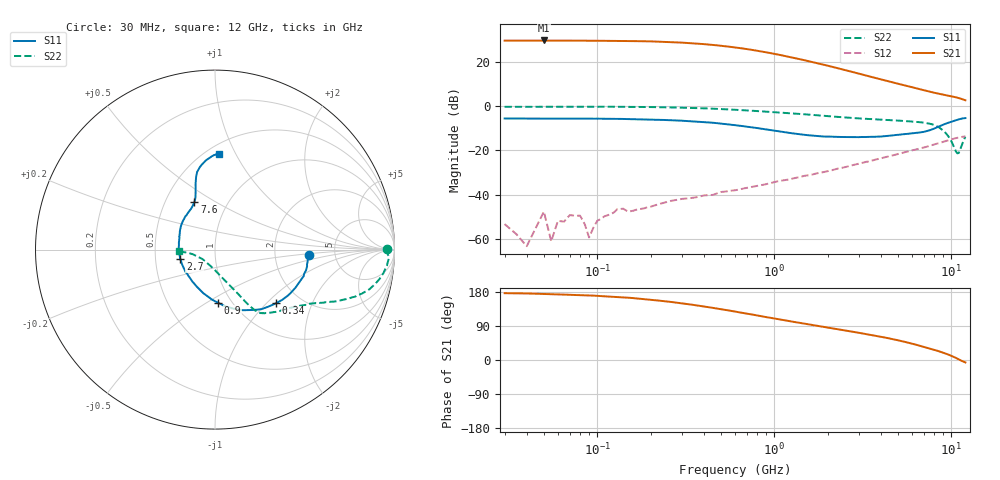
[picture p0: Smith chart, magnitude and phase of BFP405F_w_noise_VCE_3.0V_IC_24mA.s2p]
! Infineon Technologies  Discrete & RF Semiconductors
! BFP405F
! VCE =  3.0 V,  IC =  24 mA
! Common Emitter S-Parameters:  Nov 2015
# GHz  S  MA  R  50
!  f  S11  S21  S12  S22
! GHz  MAG  ANG  MAG  ANG  MAG  ANG  MAG  ANG
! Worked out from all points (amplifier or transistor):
!   239 points, 30 MHz to 12 GHz, reference 50 ohm
!   highest |S21| = 29.5 dB at 50 MHz (marker M1)
!   |S21| within 3 dB of that: start of sweep to 581 MHz
!   unconditionally stable (mu >= 1): 34.49 MHz to 41.31 MHz; 1.515 GHz to end of sweep
!   at 300 MHz: K = 0.37, MSG = 35.2 dB, |S12| = -41.8 dB
!   at 1.88 GHz: K = 1.13, MAG = 22.1 dB, |S12| = -29.8 dB
!   at 12 GHz: K = 1.40, MAG = 4.4 dB, |S12| = -13.6 dB
!   lowest NFmin = 2.43 dB at 450 MHz
!   S11 on the Smith chart (normalised r, x): 30 MHz: 3.18, -0.28; 340 MHz: 1.52, -1.14; 900 MHz: 0.87, -0.56; 2.7 GHz: 0.67, -0.07; 7.6 GHz: 0.70, +0.40; 12 GHz: 0.57, +0.86
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0.03  0.525 -3.5  29.73 176.3  0.0022 62.4  0.9602 0.2
0.04  0.5211 -5.0  29.77 175.6  0.0007 6.5  0.9622 -0.6
0.05  0.5207 -6.0  29.93 174.2  0.0042 171.2  0.9633 -0.7
0.055  0.5208 -6.8  29.82 173.8  0.0009 148.4  0.9627 -1.1
0.06  0.5211 -7.6  29.71 173.3  0.0026 7.2  0.9622 -1.5
0.085  0.521 -10.9  29.56 170.7  0.0022 94.3  0.9694 -2.7
0.09  0.5208 -11.6  29.6 170.4  0.0011 82.9  0.9694 -3.0
0.15  0.5077 -19.5  29.11 164.4  0.0042 92.8  0.9591 -5.7
0.2  0.4955 -25.6  28.56 158.8  0.0054 89.8  0.948 -7.9
0.24  0.4853 -30.1  27.77 155.1  0.0067 82.0  0.9375 -9.3
0.34  0.4533 -41.1  25.93 146.2  0.0085 74.0  0.9071 -12.6
0.45  0.4206 -52.1  23.77 137.5  0.01 75.3  0.8717 -15.5
0.6  0.3713 -65.5  20.85 127.6  0.0127 72.1  0.8243 -18.5
0.7  0.3436 -73.0  19.17 122.3  0.0144 71.8  0.7962 -19.9
0.9  0.2969 -86.7  16.2 113.2  0.0174 72.1  0.7486 -22.3
1.2  0.2516 -105.0  12.92 103.1  0.0221 72.0  0.6923 -24.9
1.64  0.2155 -127.1  9.788 92.5  0.0287 72.1  0.6324 -28.2
2.7  0.2003 -165.2  5.983 75.5  0.0456 70.1  0.542 -36.1
4.5  0.2149 156.8  3.529 56.6  0.0749 64.5  0.4835 -45.9
7.6  0.2877 113.6  2.088 30.0  0.1285 52.0  0.3974 -57.0
10.8  0.4896 97.2  1.544 3.6  0.1927 33.2  0.0863 -122.8
12  0.535 87.9  1.348 -6.4  0.2082 26.2  0.2035 -177.3
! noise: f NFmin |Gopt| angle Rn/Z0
0.45  2.43  0.04  -155  0.42
0.9  2.46  0.05  -147  0.25
1.5  2.53  0.09  -136  0.33
1.9  2.62  0.1  -132  0.4
2.4  2.79  0.12  -128  0.18
3  2.92  0.13  -125  0.16
3.5  3.04  0.14  -122  0.26
4.5  3.34  0.18  -108  0.56
5.5  3.72  0.34  -88  0.53
